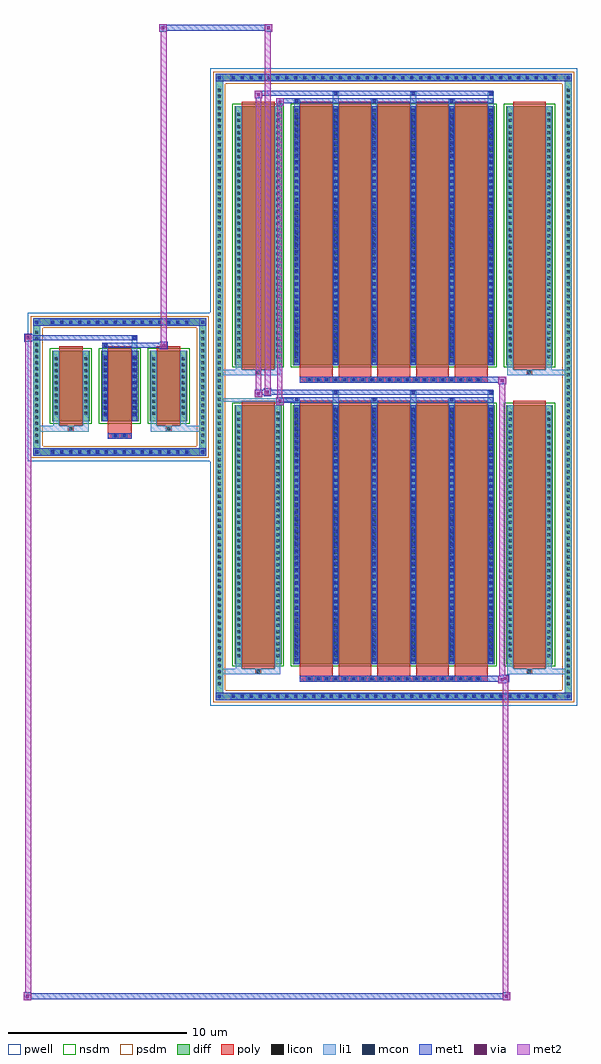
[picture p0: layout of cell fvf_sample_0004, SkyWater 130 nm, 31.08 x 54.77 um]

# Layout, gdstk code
import gdstk
lib = gdstk.Library(unit=1e-6, precision=1e-09)
def R(c, l, rs):  # rectangles x0, y0, x1, y1
    for r in rs: c.add(gdstk.rectangle(r[:2], r[2:], *l))
def A(c, l, x, y, w, h, nx, ny, dx, dy):  # array of equal rectangles
    R(c, l, [(x+i*dx, y+j*dy, x+i*dx+w, y+j*dy+h) for i in range(nx) for j in range(ny)])
def P(c, l, *ps):  # polygons
    for p in ps: c.add(gdstk.Polygon(p, *l))
pwell = (64, 44)
diff = (65, 20)
poly = (66, 20)
licon = (66, 44)
li1 = (67, 20)
mcon = (67, 44)
met1 = (68, 20)
via = (68, 44)
met2 = (69, 20)
nsdm = (93, 44)
psdm = (94, 20)

fvf_sample_0004 = lib.new_cell('fvf_sample_0004')
R(fvf_sample_0004, pwell, [(5.073,-17.88,25.681,17.88), (-5.173,-4.162,5.173,4.162)])
A(fvf_sample_0004, diff, 6.172, -17.57, 0.41, 0.41, 37, 2, 0.5, 34.73)
A(fvf_sample_0004, diff, 5.383, -16.865, 0.41, 0.41, 1, 99, 0, 0.34)
A(fvf_sample_0004, diff, 24.961, -16.865, 0.41, 0.41, 1, 99, 0, 0.34)
A(fvf_sample_0004, diff, -3.955, -3.852, 0.41, 0.41, 16, 2, 0.5, 7.294)
A(fvf_sample_0004, diff, -4.863, -3.265, 0.41, 0.41, 1, 19, 0, 0.34)
A(fvf_sample_0004, diff, 4.453, -3.265, 0.41, 0.41, 1, 19, 0, 0.34)
A(fvf_sample_0004, diff, -3.793, -1.931, 2.102, 3.978, 3, 1, 2.742, 0)
R(fvf_sample_0004, diff, [(6.172,-17.57,24.582,-17.16), (5.383,-16.865,5.793,16.865), (24.961,-16.865,25.371,16.865), (6.453,-15.549,9.077,-1.015), (9.717,-15.549,21.037,-1.015), (21.677,-15.549,24.301,-1.015), (-3.955,-3.852,3.955,-3.442), (-4.863,-3.265,-4.453,3.265), (4.453,-3.265,4.863,3.265), (6.453,1.231,9.077,15.765), (9.717,1.231,21.037,15.765), (21.677,1.231,24.301,15.765), (-3.955,3.442,3.955,3.852), (6.172,17.16,24.582,17.57)])
P(fvf_sample_0004, diff, [(4.863,3.852),(-4.863,3.852),(-4.863,-3.442),(-4.453,-3.442),(-4.453,3.442),(4.453,3.442),(4.453,-3.442),(-4.453,-3.442),(-4.863,-3.442),(-4.863,-3.852),(4.863,-3.852)],
  [(25.371,17.57),(5.383,17.57),(5.383,-17.16),(5.793,-17.16),(5.793,17.16),(24.961,17.16),(24.961,-17.16),(5.793,-17.16),(5.383,-17.16),(5.383,-17.57),(25.371,-17.57)])
A(fvf_sample_0004, poly, 10.462, -16.53, 0.33, 0.33, 20, 2, 0.5, 16.78)
A(fvf_sample_0004, poly, 10.107, -16.2, 1.844, 0.401, 5, 2, 2.174, 16.78)
A(fvf_sample_0004, poly, 10.107, -15.799, 1.844, 15.034, 5, 2, 2.174, 16.78)
A(fvf_sample_0004, poly, -3.403, -2.181, 1.322, 4.478, 3, 1, 2.742, 0)
R(fvf_sample_0004, poly, [(10.107,-16.53,20.647,-16.2), (7.6,-16.129,7.93,-15.799), (7.6,-16.129,7.93,-15.799), (22.824,-16.129,23.154,-15.799), (22.824,-16.129,23.154,-15.799), (6.843,-15.799,8.687,-0.765), (22.067,-15.799,23.911,-0.765), (-0.661,-2.912,0.661,-2.582), (-0.415,-2.912,-0.085,-2.582), (0.085,-2.912,0.415,-2.582), (-0.661,-2.582,0.661,-2.181), (-2.907,-2.511,-2.577,-2.181), (-2.907,-2.511,-2.577,-2.181), (2.577,-2.511,2.907,-2.181), (2.577,-2.511,2.907,-2.181), (10.107,0.25,20.647,0.58), (7.6,0.651,7.93,0.981), (7.6,0.651,7.93,0.981), (22.824,0.651,23.154,0.981), (22.824,0.651,23.154,0.981), (6.843,0.981,8.687,16.015), (22.067,0.981,23.911,16.015)])
A(fvf_sample_0004, licon, 6.292, -17.45, 0.17, 0.17, 37, 2, 0.5, 34.73)
A(fvf_sample_0004, licon, 5.503, -16.745, 0.17, 0.17, 1, 99, 0, 0.34)
A(fvf_sample_0004, licon, 25.081, -16.745, 0.17, 0.17, 1, 99, 0, 0.34)
A(fvf_sample_0004, licon, 10.542, -16.45, 0.17, 0.17, 20, 2, 0.5, 16.78)
A(fvf_sample_0004, licon, 6.593, -15.167, 0.17, 0.17, 1, 41, 0, 0.34)
A(fvf_sample_0004, licon, 8.767, -15.167, 0.17, 0.17, 1, 41, 0, 0.34)
A(fvf_sample_0004, licon, 9.857, -15.167, 0.17, 0.17, 6, 41, 2.174, 0.34)
A(fvf_sample_0004, licon, 21.817, -15.167, 0.17, 0.17, 1, 41, 0, 0.34)
A(fvf_sample_0004, licon, 23.991, -15.167, 0.17, 0.17, 1, 41, 0, 0.34)
A(fvf_sample_0004, licon, -3.835, -3.732, 0.17, 0.17, 16, 2, 0.5, 7.294)
A(fvf_sample_0004, licon, -4.743, -3.145, 0.17, 0.17, 1, 19, 0, 0.34)
A(fvf_sample_0004, licon, 4.573, -3.145, 0.17, 0.17, 1, 19, 0, 0.34)
A(fvf_sample_0004, licon, -3.653, -1.557, 0.17, 0.17, 1, 10, 0, 0.34)
A(fvf_sample_0004, licon, -2.001, -1.557, 0.17, 0.17, 1, 10, 0, 0.34)
A(fvf_sample_0004, licon, -0.911, -1.557, 0.17, 0.17, 1, 10, 0, 0.34)
A(fvf_sample_0004, licon, 0.741, -1.557, 0.17, 0.17, 1, 10, 0, 0.34)
A(fvf_sample_0004, licon, 1.831, -1.557, 0.17, 0.17, 1, 10, 0, 0.34)
A(fvf_sample_0004, licon, 3.483, -1.557, 0.17, 0.17, 1, 10, 0, 0.34)
A(fvf_sample_0004, licon, 6.593, 1.613, 0.17, 0.17, 1, 41, 0, 0.34)
A(fvf_sample_0004, licon, 8.767, 1.613, 0.17, 0.17, 1, 41, 0, 0.34)
A(fvf_sample_0004, licon, 9.857, 1.613, 0.17, 0.17, 6, 41, 2.174, 0.34)
A(fvf_sample_0004, licon, 21.817, 1.613, 0.17, 0.17, 1, 41, 0, 0.34)
A(fvf_sample_0004, licon, 23.991, 1.613, 0.17, 0.17, 1, 41, 0, 0.34)
R(fvf_sample_0004, licon, [(7.68,-16.049,7.85,-15.879), (22.904,-16.049,23.074,-15.879), (-0.335,-2.832,-0.165,-2.662), (0.165,-2.832,0.335,-2.662), (-2.827,-2.431,-2.657,-2.261), (2.657,-2.431,2.827,-2.261), (7.68,0.731,7.85,0.901), (22.904,0.731,23.074,0.901)])
A(fvf_sample_0004, li1, 6.212, -17.53, 0.33, 0.33, 37, 2, 0.5, 34.73)
A(fvf_sample_0004, li1, 5.423, -16.825, 0.33, 0.33, 1, 99, 0, 0.34)
A(fvf_sample_0004, li1, 25.001, -16.825, 0.33, 0.33, 1, 99, 0, 0.34)
A(fvf_sample_0004, li1, 10.462, -16.53, 0.33, 0.33, 20, 2, 0.5, 16.78)
A(fvf_sample_0004, li1, 9.777, -15.549, 0.33, 14.534, 6, 2, 2.174, 16.78)
A(fvf_sample_0004, li1, 9.857, -15.387, 0.17, 0.17, 6, 40, 2.174, 0.36)
A(fvf_sample_0004, li1, 9.857, -15.387, 0.17, 14.21, 6, 2, 2.174, 16.78)
A(fvf_sample_0004, li1, 6.513, -15.247, 0.33, 0.33, 1, 41, 0, 0.34)
A(fvf_sample_0004, li1, 8.687, -15.247, 0.33, 0.33, 1, 41, 0, 0.34)
A(fvf_sample_0004, li1, 9.777, -15.247, 0.33, 0.33, 6, 41, 2.174, 0.34)
A(fvf_sample_0004, li1, 21.737, -15.247, 0.33, 0.33, 1, 41, 0, 0.34)
A(fvf_sample_0004, li1, 23.911, -15.247, 0.33, 0.33, 1, 41, 0, 0.34)
A(fvf_sample_0004, li1, -3.915, -3.812, 0.33, 0.33, 16, 2, 0.5, 7.294)
A(fvf_sample_0004, li1, -4.823, -3.225, 0.33, 0.33, 1, 19, 0, 0.34)
A(fvf_sample_0004, li1, 4.493, -3.225, 0.33, 0.33, 1, 19, 0, 0.34)
A(fvf_sample_0004, li1, -0.911, -1.647, 0.17, 0.17, 1, 10, 0, 0.36)
A(fvf_sample_0004, li1, 0.741, -1.647, 0.17, 0.17, 1, 10, 0, 0.36)
A(fvf_sample_0004, li1, -3.733, -1.637, 0.33, 0.33, 1, 10, 0, 0.34)
A(fvf_sample_0004, li1, -2.081, -1.637, 0.33, 0.33, 1, 10, 0, 0.34)
A(fvf_sample_0004, li1, -0.991, -1.637, 0.33, 0.33, 1, 10, 0, 0.34)
A(fvf_sample_0004, li1, 0.661, -1.637, 0.33, 0.33, 1, 10, 0, 0.34)
A(fvf_sample_0004, li1, 1.751, -1.637, 0.33, 0.33, 1, 10, 0, 0.34)
A(fvf_sample_0004, li1, 3.403, -1.637, 0.33, 0.33, 1, 10, 0, 0.34)
A(fvf_sample_0004, li1, 9.777, -1.015, 0.33, 0.375, 3, 2, 4.348, 16.78)
A(fvf_sample_0004, li1, 11.951, -1.015, 0.33, 0.805, 3, 2, 4.348, 16.78)
A(fvf_sample_0004, li1, 9.857, -0.81, 0.17, 0.17, 3, 2, 4.348, 16.78)
A(fvf_sample_0004, li1, 12.031, -0.38, 0.17, 0.17, 3, 2, 4.348, 16.78)
A(fvf_sample_0004, li1, 9.857, 1.393, 0.17, 0.17, 6, 40, 2.174, 0.36)
A(fvf_sample_0004, li1, 6.513, 1.533, 0.33, 0.33, 1, 41, 0, 0.34)
A(fvf_sample_0004, li1, 8.687, 1.533, 0.33, 0.33, 1, 41, 0, 0.34)
A(fvf_sample_0004, li1, 9.777, 1.533, 0.33, 0.33, 6, 41, 2.174, 0.34)
A(fvf_sample_0004, li1, 21.737, 1.533, 0.33, 0.33, 1, 41, 0, 0.34)
A(fvf_sample_0004, li1, 23.911, 1.533, 0.33, 0.33, 1, 41, 0, 0.34)
R(fvf_sample_0004, li1, [(5.383,-17.57,5.793,-17.16), (24.961,-17.57,25.371,-17.16), (6.212,-17.53,24.542,-17.2), (5.503,-17.45,5.673,-17.28), (5.503,-17.45,5.673,-17.28), (25.081,-17.45,25.251,-17.28), (25.081,-17.45,25.251,-17.28), (5.383,-17.16,5.793,17.16), (24.961,-17.16,25.371,17.16), (5.383,-16.129,7.6,-15.799), (6.513,-16.129,6.843,-15.549), (6.513,-16.129,7.6,-15.799), (7.6,-16.129,7.93,-15.799), (7.93,-16.129,9.017,-15.799), (8.687,-16.129,9.017,-15.549), (21.737,-16.129,22.067,-15.549), (21.737,-16.129,22.824,-15.799), (22.824,-16.129,23.154,-15.799), (22.824,-16.129,25.371,-15.799), (23.154,-16.129,24.241,-15.799), (23.911,-16.129,24.241,-15.549), (6.513,-15.549,6.843,-1.015), (8.687,-15.549,9.017,-1.015), (21.737,-15.549,22.067,-1.015), (23.911,-15.549,24.241,-1.015), (-4.863,-3.852,-4.453,-3.442), (4.453,-3.852,4.863,-3.442), (-3.915,-3.812,3.915,-3.482), (-4.743,-3.732,-4.573,-3.562), (-4.743,-3.732,-4.573,-3.562), (4.573,-3.732,4.743,-3.562), (4.573,-3.732,4.743,-3.562), (-4.863,-3.442,-4.453,3.442), (4.453,-3.442,4.863,3.442), (-0.415,-2.912,-0.085,-2.582), (0.085,-2.912,0.415,-2.582), (-4.863,-2.511,-2.907,-2.181), (-3.733,-2.511,-2.907,-2.181), (-3.733,-2.511,-3.403,-1.931), (-2.907,-2.511,-2.577,-2.181), (-2.577,-2.511,-1.751,-2.181), (-2.081,-2.511,-1.751,-1.931), (1.751,-2.511,2.577,-2.181), (1.751,-2.511,2.081,-1.931), (2.577,-2.511,2.907,-2.181), (2.577,-2.511,4.863,-2.181), (2.907,-2.511,3.733,-2.181), (3.403,-2.511,3.733,-1.931), (-3.733,-1.931,-3.403,2.047), (-2.081,-1.931,-1.751,2.047), (-0.991,-1.931,-0.661,2.047), (0.661,-1.931,0.991,2.047), (1.751,-1.931,2.081,2.047), (3.403,-1.931,3.733,2.047), (-0.911,-1.647,-0.741,1.763), (0.741,-1.647,0.911,1.763), (9.797,-0.87,10.087,-0.58), (5.383,-0.825,9.797,-0.625), (9.857,-0.81,10.027,-0.64), (5.383,0.651,7.6,0.981), (6.513,0.651,6.843,1.231), (6.513,0.651,7.6,0.981), (7.6,0.651,7.93,0.981), (7.93,0.651,9.017,0.981), (8.687,0.651,9.017,1.231), (21.737,0.651,22.067,1.231), (21.737,0.651,22.824,0.981), (22.824,0.651,23.154,0.981), (22.824,0.651,25.371,0.981), (23.154,0.651,24.241,0.981), (23.911,0.651,24.241,1.231), (6.513,1.231,6.843,15.765), (8.687,1.231,9.017,15.765), (21.737,1.231,22.067,15.765), (23.911,1.231,24.241,15.765), (-0.991,2.047,-0.661,2.422), (0.661,2.047,0.991,2.852), (-0.911,2.252,-0.741,2.422), (0.741,2.682,0.911,2.852), (-4.863,3.442,-4.453,3.852), (4.453,3.442,4.863,3.852), (-3.915,3.482,3.915,3.812), (-4.743,3.562,-4.573,3.732), (-4.743,3.562,-4.573,3.732), (4.573,3.562,4.743,3.732), (4.573,3.562,4.743,3.732), (5.383,17.16,5.793,17.57), (24.961,17.16,25.371,17.57), (6.212,17.2,24.542,17.53), (5.503,17.28,5.673,17.45), (5.503,17.28,5.673,17.45), (25.081,17.28,25.251,17.45), (25.081,17.28,25.251,17.45)])
A(fvf_sample_0004, mcon, 6.292, -17.45, 0.17, 0.17, 37, 2, 0.5, 34.73)
A(fvf_sample_0004, mcon, 10.542, -16.45, 0.17, 0.17, 20, 2, 0.5, 16.78)
A(fvf_sample_0004, mcon, 9.857, -15.387, 0.17, 0.17, 6, 40, 2.174, 0.36)
A(fvf_sample_0004, mcon, -3.835, -3.732, 0.17, 0.17, 16, 2, 0.5, 7.294)
A(fvf_sample_0004, mcon, -0.911, -1.647, 0.17, 0.17, 1, 10, 0, 0.36)
A(fvf_sample_0004, mcon, 0.741, -1.647, 0.17, 0.17, 1, 10, 0, 0.36)
A(fvf_sample_0004, mcon, 9.857, -0.81, 0.17, 0.17, 3, 2, 4.348, 16.78)
A(fvf_sample_0004, mcon, 12.031, -0.38, 0.17, 0.17, 3, 2, 4.348, 16.78)
A(fvf_sample_0004, mcon, 9.857, 1.393, 0.17, 0.17, 6, 40, 2.174, 0.36)
R(fvf_sample_0004, mcon, [(5.503,-17.45,5.673,-17.28), (25.081,-17.45,25.251,-17.28), (-4.743,-3.732,-4.573,-3.562), (4.573,-3.732,4.743,-3.562), (-0.335,-2.832,-0.165,-2.662), (0.165,-2.832,0.335,-2.662), (9.857,-0.81,10.027,-0.64), (-0.911,2.252,-0.741,2.422), (0.741,2.682,0.911,2.852), (-4.743,3.562,-4.573,3.732), (4.573,3.562,4.743,3.732), (5.503,17.28,5.673,17.45), (25.081,17.28,25.251,17.45)])
A(fvf_sample_0004, met1, 6.232, -17.51, 0.29, 0.29, 37, 2, 0.5, 34.73)
A(fvf_sample_0004, met1, 10.482, -16.51, 0.29, 0.29, 20, 2, 0.5, 16.78)
A(fvf_sample_0004, met1, 9.797, -15.549, 0.29, 14.534, 6, 2, 2.174, 16.78)
A(fvf_sample_0004, met1, 9.797, -15.447, 0.29, 0.29, 6, 40, 2.174, 0.36)
A(fvf_sample_0004, met1, -3.895, -3.792, 0.29, 0.29, 16, 2, 0.5, 7.294)
A(fvf_sample_0004, met1, -0.971, -1.707, 0.29, 0.29, 1, 10, 0, 0.36)
A(fvf_sample_0004, met1, 0.681, -1.707, 0.29, 0.29, 1, 10, 0, 0.36)
A(fvf_sample_0004, met1, 9.797, -0.87, 0.29, 0.29, 3, 2, 4.348, 16.78)
A(fvf_sample_0004, met1, 11.971, -0.44, 0.29, 0.29, 3, 2, 4.348, 16.78)
A(fvf_sample_0004, met1, 9.797, 1.333, 0.29, 0.29, 6, 40, 2.174, 0.36)
R(fvf_sample_0004, met1, [(-5.398,-34.399,-4.968,-33.969), (21.482,-34.399,21.912,-33.969), (-5.398,-34.349,21.912,-34.019), (-5.398,-34.019,-4.968,-33.969), (21.482,-34.019,21.912,-33.969), (5.383,-17.57,5.793,-17.16), (5.383,-17.57,5.793,-17.16), (5.793,-17.57,24.961,-17.16), (24.961,-17.57,25.371,-17.16), (24.961,-17.57,25.371,-17.16), (5.443,-17.51,5.733,-17.22), (25.021,-17.51,25.311,-17.22), (21.247,-16.63,21.677,-16.2), (21.432,-16.58,21.862,-16.15), (10.107,-16.53,20.647,-16.2), (20.647,-16.53,21.432,-16.2), (20.647,-16.53,21.677,-16.2), (-4.863,-3.852,-4.453,-3.442), (-4.863,-3.852,-4.453,-3.442), (-4.453,-3.852,4.453,-3.442), (4.453,-3.852,4.863,-3.442), (4.453,-3.852,4.863,-3.442), (-4.803,-3.792,-4.513,-3.502), (4.513,-3.792,4.803,-3.502), (-0.661,-2.912,0.661,-2.582), (-0.395,-2.892,-0.105,-2.602), (0.105,-2.892,0.395,-2.602), (-0.971,-1.931,-0.681,2.047), (0.681,-1.931,0.971,2.047), (8.767,-1.01,9.197,-0.58), (8.767,-0.87,9.797,-0.58), (9.797,-0.87,10.087,-0.58), (9.797,-0.87,20.957,-0.58), (7.567,-0.58,7.997,-0.15), (8.082,-0.51,8.512,-0.08), (7.567,-0.44,9.797,-0.15), (8.512,-0.44,9.797,-0.15), (9.797,-0.44,20.957,-0.15), (21.247,0.15,21.677,0.58), (10.107,0.25,20.647,0.58), (20.647,0.25,21.677,0.58), (2.256,2.122,2.686,2.552), (-0.971,2.192,-0.681,2.482), (-0.971,2.192,0.971,2.482), (0.971,2.192,2.256,2.482), (-5.348,2.552,-4.918,2.982), (-4.918,2.622,-0.971,2.912), (-0.971,2.622,0.971,2.912), (0.681,2.622,0.971,2.912), (-4.863,3.442,-4.453,3.852), (-4.863,3.442,-4.453,3.852), (-4.453,3.442,4.453,3.852), (4.453,3.442,4.863,3.852), (4.453,3.442,4.863,3.852), (-4.803,3.502,-4.513,3.792), (4.513,3.502,4.803,3.792), (8.767,15.77,9.197,16.2), (8.767,15.91,9.797,16.2), (9.797,15.91,20.957,16.2), (7.567,16.2,7.997,16.63), (7.567,16.34,9.797,16.63), (9.797,16.34,20.957,16.63), (5.383,17.16,5.793,17.57), (5.383,17.16,5.793,17.57), (5.793,17.16,24.961,17.57), (24.961,17.16,25.371,17.57), (24.961,17.16,25.371,17.57), (5.443,17.22,5.733,17.51), (25.021,17.22,25.311,17.51), (2.206,19.941,2.636,20.371), (8.132,19.941,8.562,20.371), (2.206,19.991,8.562,20.321), (2.206,20.321,2.636,20.371), (8.132,20.321,8.562,20.371)])
R(fvf_sample_0004, via, [(-5.258,-34.259,-5.108,-34.109), (21.622,-34.259,21.772,-34.109), (21.387,-16.49,21.537,-16.34), (21.572,-16.44,21.722,-16.29), (8.907,-0.87,9.057,-0.72), (7.707,-0.44,7.857,-0.29), (8.222,-0.37,8.372,-0.22), (21.387,0.29,21.537,0.44), (2.396,2.262,2.546,2.412), (-5.208,2.692,-5.058,2.842), (8.907,15.91,9.057,16.06), (7.707,16.34,7.857,16.49), (2.346,20.081,2.496,20.231), (8.272,20.081,8.422,20.231)])
R(fvf_sample_0004, met2, [(-5.398,-34.399,-4.968,-33.969), (-5.298,-34.399,-4.968,2.602), (21.482,-34.399,21.912,-33.969), (21.482,-34.399,21.812,-16.53), (-5.348,-34.349,-5.018,-34.019), (21.532,-34.349,21.862,-34.019), (21.247,-16.63,21.677,-16.2), (21.297,-16.63,21.627,0.58), (21.627,-16.63,21.677,-16.2), (21.297,-16.58,21.627,-16.25), (21.482,-16.53,21.812,-16.2), (8.767,-1.01,9.197,-0.58), (8.837,-1.01,9.127,16.2), (9.127,-1.01,9.197,-0.58), (8.817,-0.96,9.147,-0.63), (7.567,-0.58,7.997,-0.15), (7.637,-0.58,7.927,16.63), (7.927,-0.58,7.997,-0.15), (7.617,-0.53,7.947,-0.2), (8.132,-0.46,8.462,-0.13), (8.132,-0.13,8.462,20.371), (21.247,0.15,21.677,0.58), (21.627,0.15,21.677,0.58), (21.297,0.2,21.627,0.53), (2.306,2.172,2.636,2.502), (2.306,2.502,2.636,20.371), (-5.298,2.602,-4.968,2.932), (8.767,15.77,9.197,16.2), (9.127,15.77,9.197,16.2), (8.817,15.82,9.147,16.15), (7.567,16.2,7.997,16.63), (7.927,16.2,7.997,16.63), (7.617,16.25,7.947,16.58), (2.206,19.941,2.636,20.371), (8.132,19.941,8.562,20.371), (2.256,19.991,2.586,20.321), (8.182,19.991,8.512,20.321)])
A(fvf_sample_0004, nsdm, -3.923, -2.061, 2.362, 4.238, 3, 1, 2.742, 0)
R(fvf_sample_0004, nsdm, [(6.323,-15.679,9.207,-0.885), (9.587,-15.679,21.167,-0.885), (21.547,-15.679,24.431,-0.885), (6.323,1.101,9.207,15.895), (9.587,1.101,21.167,15.895), (21.547,1.101,24.431,15.895)])
P(fvf_sample_0004, psdm, [(4.993,3.982),(-4.993,3.982),(-4.993,-3.312),(-4.323,-3.312),(-4.323,3.312),(4.323,3.312),(4.323,-3.312),(-4.323,-3.312),(-4.993,-3.312),(-4.993,-3.982),(4.993,-3.982)],
  [(25.501,17.7),(5.253,17.7),(5.253,-17.03),(5.923,-17.03),(5.923,17.03),(24.831,17.03),(24.831,-17.03),(5.923,-17.03),(5.253,-17.03),(5.253,-17.7),(25.501,-17.7)])

lib.write_gds('fvf_sample_0004.gds')
